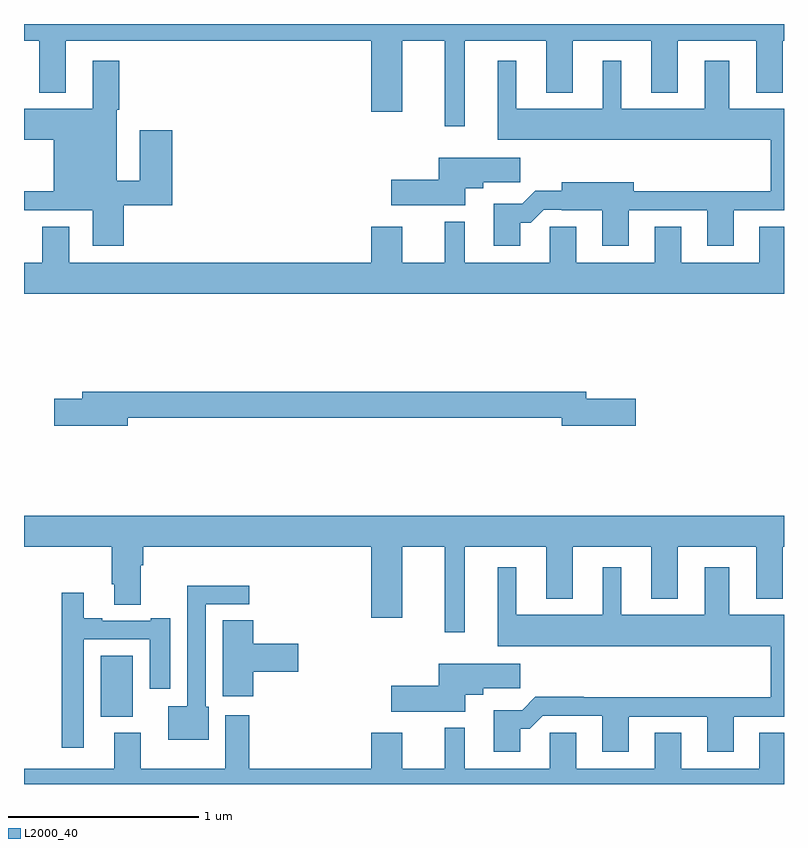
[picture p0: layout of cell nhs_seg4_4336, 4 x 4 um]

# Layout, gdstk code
import gdstk
lib = gdstk.Library(unit=1e-6, precision=1e-09)
def R(c, l, rs):  # rectangles x0, y0, x1, y1
    for r in rs: c.add(gdstk.rectangle(r[:2], r[2:], *l))
def P(c, l, *ps):  # polygons
    for p in ps: c.add(gdstk.Polygon(p, *l))
L2000_40 = (2000, 40)

nhs_seg4_4336 = lib.new_cell('nhs_seg4_4336')
R(nhs_seg4_4336, L2000_40, [(343.403,801.254,343.573,801.574)])
P(nhs_seg4_4336, L2000_40, [(345.319,804.812),(345.749,804.812),(345.749,804.539),(345.889,804.539),(345.889,804.812),(346.301,804.812),(346.301,804.539),(346.441,804.539),(346.441,804.812),(346.853,804.812),(346.853,804.539),(346.993,804.539),(346.993,804.812),(347,804.812),(347,804.9),(343,804.9),(343,804.812),(343.079,804.812),(343.079,804.539),(343.219,804.539),(343.219,804.812),(344.828,804.812),(344.828,804.438),(344.992,804.438),(344.992,804.812),(345.215,804.812),(345.215,804.363),(345.319,804.363)],
  [(345.613,803.855),(345.668,803.855),(345.735,803.922),(345.829,803.922),(345.829,803.919),(346.043,803.919),(346.043,803.733),(346.183,803.733),(346.183,803.919),(346.595,803.919),(346.595,803.733),(346.735,803.733),(346.735,803.919),(347,803.919),(347,804.454),(346.711,804.454),(346.711,804.706),(346.583,804.706),(346.583,804.454),(346.144,804.454),(346.144,804.706),(346.046,804.706),(346.046,804.454),(345.592,804.454),(345.592,804.706),(345.494,804.706),(345.494,804.29),(346.931,804.29),(346.931,804.02),(346.21,804.02),(346.21,804.067),(345.83,804.067),(345.83,804.023),(345.692,804.023),(345.622,803.953),(345.473,803.953),(345.473,803.733),(345.613,803.733)],
  [(343.526,803.946),(343.781,803.946),(343.781,804.34),(343.61,804.34),(343.61,804.074),(343.489,804.074),(343.489,804.45),(343.502,804.45),(343.502,804.706),(343.361,804.706),(343.361,804.454),(343,804.454),(343,804.29),(343.157,804.29),(343.157,804.02),(343,804.02),(343,803.919),(343.361,803.919),(343.361,803.733),(343.526,803.733)],
  [(345.322,804.035),(345.418,804.035),(345.418,804.067),(345.613,804.067),(345.613,804.196),(345.182,804.196),(345.182,804.08),(344.934,804.08),(344.934,803.945),(345.322,803.945)],
  [(347,803.834),(346.871,803.834),(346.871,803.644),(346.459,803.644),(346.459,803.834),(346.319,803.834),(346.319,803.644),(345.907,803.644),(345.907,803.834),(345.768,803.834),(345.768,803.644),(345.319,803.644),(345.319,803.86),(345.215,803.86),(345.215,803.644),(344.992,803.644),(344.992,803.833),(344.828,803.833),(344.828,803.644),(343.237,803.644),(343.237,803.834),(343.097,803.834),(343.097,803.644),(343,803.644),(343,803.48),(347,803.48)],
  [(343.546,802.828),(345.83,802.828),(345.83,802.786),(346.219,802.786),(346.219,802.928),(345.958,802.928),(345.958,802.964),(343.307,802.964),(343.307,802.928),(343.158,802.928),(343.158,802.786),(343.546,802.786)],
  [(345.319,802.148),(345.749,802.148),(345.749,801.875),(345.889,801.875),(345.889,802.148),(346.301,802.148),(346.301,801.875),(346.441,801.875),(346.441,802.148),(346.853,802.148),(346.853,801.875),(346.993,801.875),(346.993,802.148),(347,802.148),(347,802.312),(343,802.312),(343,802.148),(343.463,802.148),(343.463,801.952),(343.475,801.952),(343.475,801.844),(343.615,801.844),(343.615,802.052),(343.628,802.052),(343.628,802.148),(344.828,802.148),(344.828,801.774),(344.992,801.774),(344.992,802.148),(345.215,802.148),(345.215,801.699),(345.319,801.699)],
  [(345.613,801.191),(345.662,801.191),(345.729,801.258),(346.043,801.258),(346.043,801.069),(346.183,801.069),(346.183,801.255),(346.595,801.255),(346.595,801.069),(346.735,801.069),(346.735,801.255),(347,801.255),(347,801.79),(346.711,801.79),(346.711,802.042),(346.583,802.042),(346.583,801.79),(346.144,801.79),(346.144,802.042),(346.046,802.042),(346.046,801.79),(345.592,801.79),(345.592,802.042),(345.494,802.042),(345.494,801.626),(346.931,801.626),(346.931,801.356),(345.947,801.356),(345.947,801.359),(345.692,801.359),(345.622,801.289),(345.473,801.289),(345.473,801.069),(345.613,801.069)],
  [(343.972,801.306),(343.956,801.306),(343.956,801.846),(344.185,801.846),(344.185,801.944),(343.86,801.944),(343.86,801.31),(343.76,801.31),(343.76,801.134),(343.972,801.134)],
  [(343.314,801.663),(343.661,801.663),(343.661,801.402),(343.771,801.402),(343.771,801.772),(343.667,801.772),(343.667,801.759),(343.411,801.759),(343.411,801.772),(343.315,801.772),(343.315,801.907),(343.198,801.907),(343.198,801.09),(343.314,801.09)],
  [(344.207,801.491),(344.443,801.491),(344.443,801.638),(344.207,801.638),(344.207,801.761),(344.045,801.761),(344.045,801.363),(344.207,801.363)],
  [(345.322,801.371),(345.418,801.371),(345.418,801.403),(345.613,801.403),(345.613,801.532),(345.182,801.532),(345.182,801.416),(344.934,801.416),(344.934,801.281),(345.322,801.281)],
  [(347,801.17),(346.871,801.17),(346.871,800.98),(346.459,800.98),(346.459,801.17),(346.319,801.17),(346.319,800.98),(345.907,800.98),(345.907,801.17),(345.768,801.17),(345.768,800.98),(345.319,800.98),(345.319,801.196),(345.215,801.196),(345.215,800.98),(344.992,800.98),(344.992,801.169),(344.828,801.169),(344.828,800.98),(344.186,800.98),(344.186,801.262),(344.06,801.262),(344.06,800.98),(343.615,800.98),(343.615,801.169),(343.475,801.169),(343.475,800.98),(343,800.98),(343,800.9),(347,800.9)])

lib.write_gds('nhs_seg4_4336.gds')
